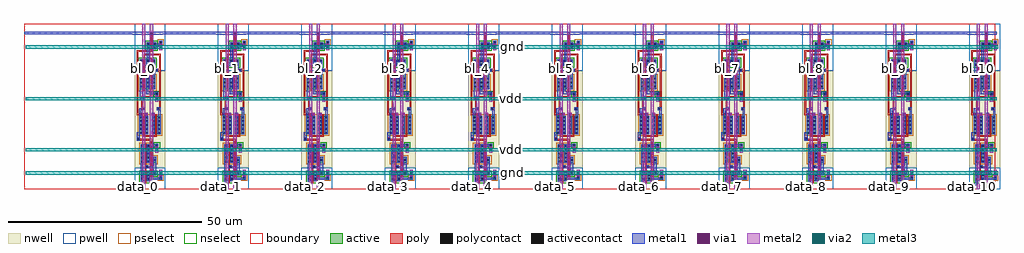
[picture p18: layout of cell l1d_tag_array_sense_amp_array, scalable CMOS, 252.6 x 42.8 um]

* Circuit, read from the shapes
.subckt l1d_tag_array_sense_amp_array bl_0 bl_1 bl_10 bl_2 bl_3 bl_4 bl_5 bl_6 bl_7 bl_8 bl_9 br_0 br_1 br_10 br_2 br_3 br_4 br_5 br_6 br_7 br_8 br_9 data_0 data_1 data_10 data_2 data_3 data_4 data_5 data_6 data_7 data_8 data_9 en gnd vdd
M1 n1 n2 n3 gnd nfet w=1.8u l=0.4u
M2 gnd n4 data_0 gnd nfet w=2.4u l=0.4u
M3 n2 n3 n1 gnd nfet w=1.8u l=0.4u
M4 n4 n3 gnd gnd nfet w=0.8u l=0.4u
M5 gnd en n1 gnd nfet w=1.8u l=0.4u
M6 n5 n6 n7 gnd nfet w=1.8u l=0.4u
M7 gnd n8 data_1 gnd nfet w=2.4u l=0.4u
M8 n6 n7 n5 gnd nfet w=1.8u l=0.4u
M9 n8 n7 gnd gnd nfet w=0.8u l=0.4u
M10 gnd en n5 gnd nfet w=1.8u l=0.4u
M11 n9 n10 n11 gnd nfet w=1.8u l=0.4u
M12 gnd n12 data_2 gnd nfet w=2.4u l=0.4u
M13 n10 n11 n9 gnd nfet w=1.8u l=0.4u
M14 n12 n11 gnd gnd nfet w=0.8u l=0.4u
M15 gnd en n9 gnd nfet w=1.8u l=0.4u
M16 n13 n14 n15 gnd nfet w=1.8u l=0.4u
M17 gnd n16 data_3 gnd nfet w=2.4u l=0.4u
M18 n14 n15 n13 gnd nfet w=1.8u l=0.4u
M19 n16 n15 gnd gnd nfet w=0.8u l=0.4u
M20 gnd en n13 gnd nfet w=1.8u l=0.4u
M21 n17 n18 n19 gnd nfet w=1.8u l=0.4u
M22 gnd n20 data_4 gnd nfet w=2.4u l=0.4u
M23 n18 n19 n17 gnd nfet w=1.8u l=0.4u
M24 n20 n19 gnd gnd nfet w=0.8u l=0.4u
M25 gnd en n17 gnd nfet w=1.8u l=0.4u
M26 n21 n22 n23 gnd nfet w=1.8u l=0.4u
M27 gnd n24 data_5 gnd nfet w=2.4u l=0.4u
M28 n22 n23 n21 gnd nfet w=1.8u l=0.4u
M29 n24 n23 gnd gnd nfet w=0.8u l=0.4u
M30 gnd en n21 gnd nfet w=1.8u l=0.4u
M31 n25 n26 n27 gnd nfet w=1.8u l=0.4u
M32 gnd n28 data_6 gnd nfet w=2.4u l=0.4u
M33 n26 n27 n25 gnd nfet w=1.8u l=0.4u
M34 n28 n27 gnd gnd nfet w=0.8u l=0.4u
M35 gnd en n25 gnd nfet w=1.8u l=0.4u
M36 n29 n30 n31 gnd nfet w=1.8u l=0.4u
M37 gnd n32 data_7 gnd nfet w=2.4u l=0.4u
M38 n30 n31 n29 gnd nfet w=1.8u l=0.4u
M39 n32 n31 gnd gnd nfet w=0.8u l=0.4u
M40 gnd en n29 gnd nfet w=1.8u l=0.4u
M41 n33 n34 n35 gnd nfet w=1.8u l=0.4u
M42 gnd n36 data_8 gnd nfet w=2.4u l=0.4u
M43 n34 n35 n33 gnd nfet w=1.8u l=0.4u
M44 n36 n35 gnd gnd nfet w=0.8u l=0.4u
M45 gnd en n33 gnd nfet w=1.8u l=0.4u
M46 n37 n38 n39 gnd nfet w=1.8u l=0.4u
M47 gnd n40 data_9 gnd nfet w=2.4u l=0.4u
M48 n38 n39 n37 gnd nfet w=1.8u l=0.4u
M49 n40 n39 gnd gnd nfet w=0.8u l=0.4u
M50 gnd en n37 gnd nfet w=1.8u l=0.4u
M51 n41 n42 n43 gnd nfet w=1.8u l=0.4u
M52 gnd n44 data_10 gnd nfet w=2.4u l=0.4u
M53 n42 n43 n41 gnd nfet w=1.8u l=0.4u
M54 n44 n43 gnd gnd nfet w=0.8u l=0.4u
M55 gnd en n41 gnd nfet w=1.8u l=0.4u
M56 bl_0 en n3 vdd pfet w=4.8u l=0.4u
M57 vdd n2 n3 vdd pfet w=3.6u l=0.4u
M58 vdd n4 data_0 vdd pfet w=4.8u l=0.4u
M59 n2 n3 vdd vdd pfet w=3.6u l=0.4u
M60 n4 n3 vdd vdd pfet w=1.6u l=0.4u
M61 n2 en br_0 vdd pfet w=4.8u l=0.4u
M62 bl_1 en n7 vdd pfet w=4.8u l=0.4u
M63 vdd n6 n7 vdd pfet w=3.6u l=0.4u
M64 vdd n8 data_1 vdd pfet w=4.8u l=0.4u
M65 n6 n7 vdd vdd pfet w=3.6u l=0.4u
M66 n8 n7 vdd vdd pfet w=1.6u l=0.4u
M67 n6 en br_1 vdd pfet w=4.8u l=0.4u
M68 bl_2 en n11 vdd pfet w=4.8u l=0.4u
M69 vdd n10 n11 vdd pfet w=3.6u l=0.4u
M70 vdd n12 data_2 vdd pfet w=4.8u l=0.4u
M71 n10 n11 vdd vdd pfet w=3.6u l=0.4u
M72 n12 n11 vdd vdd pfet w=1.6u l=0.4u
M73 n10 en br_2 vdd pfet w=4.8u l=0.4u
M74 bl_3 en n15 vdd pfet w=4.8u l=0.4u
M75 vdd n14 n15 vdd pfet w=3.6u l=0.4u
M76 vdd n16 data_3 vdd pfet w=4.8u l=0.4u
M77 n14 n15 vdd vdd pfet w=3.6u l=0.4u
M78 n16 n15 vdd vdd pfet w=1.6u l=0.4u
M79 n14 en br_3 vdd pfet w=4.8u l=0.4u
M80 bl_4 en n19 vdd pfet w=4.8u l=0.4u
M81 vdd n18 n19 vdd pfet w=3.6u l=0.4u
M82 vdd n20 data_4 vdd pfet w=4.8u l=0.4u
M83 n18 n19 vdd vdd pfet w=3.6u l=0.4u
M84 n20 n19 vdd vdd pfet w=1.6u l=0.4u
M85 n18 en br_4 vdd pfet w=4.8u l=0.4u
M86 bl_5 en n23 vdd pfet w=4.8u l=0.4u
M87 vdd n22 n23 vdd pfet w=3.6u l=0.4u
M88 vdd n24 data_5 vdd pfet w=4.8u l=0.4u
M89 n22 n23 vdd vdd pfet w=3.6u l=0.4u
M90 n24 n23 vdd vdd pfet w=1.6u l=0.4u
M91 n22 en br_5 vdd pfet w=4.8u l=0.4u
M92 bl_6 en n27 vdd pfet w=4.8u l=0.4u
M93 vdd n26 n27 vdd pfet w=3.6u l=0.4u
M94 vdd n28 data_6 vdd pfet w=4.8u l=0.4u
M95 n26 n27 vdd vdd pfet w=3.6u l=0.4u
M96 n28 n27 vdd vdd pfet w=1.6u l=0.4u
M97 n26 en br_6 vdd pfet w=4.8u l=0.4u
M98 bl_7 en n31 vdd pfet w=4.8u l=0.4u
M99 vdd n30 n31 vdd pfet w=3.6u l=0.4u
M100 vdd n32 data_7 vdd pfet w=4.8u l=0.4u
M101 n30 n31 vdd vdd pfet w=3.6u l=0.4u
M102 n32 n31 vdd vdd pfet w=1.6u l=0.4u
M103 n30 en br_7 vdd pfet w=4.8u l=0.4u
M104 bl_8 en n35 vdd pfet w=4.8u l=0.4u
M105 vdd n34 n35 vdd pfet w=3.6u l=0.4u
M106 vdd n36 data_8 vdd pfet w=4.8u l=0.4u
M107 n34 n35 vdd vdd pfet w=3.6u l=0.4u
M108 n36 n35 vdd vdd pfet w=1.6u l=0.4u
M109 n34 en br_8 vdd pfet w=4.8u l=0.4u
M110 bl_9 en n39 vdd pfet w=4.8u l=0.4u
M111 vdd n38 n39 vdd pfet w=3.6u l=0.4u
M112 vdd n40 data_9 vdd pfet w=4.8u l=0.4u
M113 n38 n39 vdd vdd pfet w=3.6u l=0.4u
M114 n40 n39 vdd vdd pfet w=1.6u l=0.4u
M115 n38 en br_9 vdd pfet w=4.8u l=0.4u
M116 bl_10 en n43 vdd pfet w=4.8u l=0.4u
M117 vdd n42 n43 vdd pfet w=3.6u l=0.4u
M118 vdd n44 data_10 vdd pfet w=4.8u l=0.4u
M119 n42 n43 vdd vdd pfet w=3.6u l=0.4u
M120 n44 n43 vdd vdd pfet w=1.6u l=0.4u
M121 n42 en br_10 vdd pfet w=4.8u l=0.4u
.ends

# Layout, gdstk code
import gdstk
lib = gdstk.Library(unit=1e-6, precision=1e-09)
def R(c, l, rs):  # rectangles x0, y0, x1, y1
    for r in rs: c.add(gdstk.rectangle(r[:2], r[2:], *l))
def A(c, l, x, y, w, h, nx, ny, dx, dy):  # array of equal rectangles
    R(c, l, [(x+i*dx, y+j*dy, x+i*dx+w, y+j*dy+h) for i in range(nx) for j in range(ny)])
pwell = (41, 0)
nwell = (42, 0)
active = (43, 0)
pselect = (44, 0)
nselect = (45, 0)
poly = (46, 0)
polycontact = (47, 0)
activecontact = (48, 0)
metal1 = (49, 0)
via1 = (50, 0)
metal2 = (51, 0)
via2 = (61, 0)
metal3 = (62, 0)
boundary = (63, 0)

sense_amp = lib.new_cell('sense_amp')
R(sense_amp, pwell, [(0,0,8,5.6), (0,30.6,8,42.8)])
R(sense_amp, nwell, [(0,5.6,8,30.6)])
R(sense_amp, active, [(1.6,2,4,3.6), (6.4,2.6,7.2,3.4), (1.6,3.6,5.6,4.4), (1.6,6.8,5.6,8.4), (1.6,8.4,4,11.6), (5.4,11,6.2,11.8), (1.2,14.2,3.6,19), (4.4,14.2,6.8,19), (5.4,24.2,6.2,25), (1.4,25.8,5.4,29.4), (1.4,31.8,5.4,33.6), (3.2,36.2,5.6,38), (6.4,37.6,7.2,38.4)])
R(sense_amp, pselect, [(6,2.2,7.6,3.8), (1.2,6.4,6,8.8), (1.2,8.8,4.4,12), (0.8,13.8,7.2,19.4), (1,25.4,5.8,29.8), (6,37.2,7.6,38.8)])
R(sense_amp, nselect, [(1.2,1.6,4.4,3.2), (1.2,3.2,6,4.8), (5,10.6,6.6,12.2), (5,23.8,6.6,25.4), (1,31.4,5.8,34), (2.8,35.8,6,38.4)])
R(sense_amp, poly, [(2.6,1.6,3,5.4), (4.2,3.2,4.6,12.6), (2.6,5.4,3.6,6.2), (2.6,6.2,3,12), (0.6,12.6,4.6,13), (0.6,13,1.4,13.4), (2.2,13.6,5.8,14), (2.2,14,2.6,19.2), (5.4,14,5.8,19.4), (0.6,19.2,2.6,19.6), (0.6,19.6,1,35.6), (1.8,20.4,2.6,21.2), (5.8,20.4,6.8,21.2), (1.8,21.2,2.2,23.2), (6.4,21.2,6.8,30.4), (1.8,23.2,2.6,23.6), (1.8,23.6,4.4,24), (4,24,4.4,34), (2.4,25.4,2.8,34.6), (5.2,30.4,6.8,31.2), (6.4,31.2,6.8,34.6), (2.4,34.6,6.8,35), (0.6,35.6,4.6,36), (4.2,36,4.6,40), (4,40,4.8,40.8)])
R(sense_amp, polycontact, [(3,5.6,3.4,6), (0.8,12.8,1.2,13.2), (2,20.6,2.4,21), (6,20.6,6.4,21), (2,23.4,2.4,23.8), (5.4,30.6,5.8,31), (4.2,40.2,4.6,40.6)])
A(sense_amp, activecontact, 1.8, 7, 0.4, 0.4, 1, 5, 0, 1)
A(sense_amp, activecontact, 3.4, 7, 0.4, 0.4, 1, 5, 0, 1)
A(sense_amp, activecontact, 1.4, 14.4, 0.4, 0.4, 4, 5, 1.6, 1)
A(sense_amp, activecontact, 1.6, 26.4, 0.4, 0.4, 3, 3, 1.6, 1)
A(sense_amp, activecontact, 1.6, 32, 0.4, 0.4, 3, 2, 1.6, 1)
R(sense_amp, activecontact, [(1.8,2.5,2.2,2.9), (3.4,2.5,3.8,2.9), (6.6,2.8,7,3.2), (1.8,3.5,2.2,3.9), (3.4,3.5,3.8,3.9), (5,3.8,5.4,4.2), (5,7.4,5.4,7.8), (5.6,11.2,6,11.6), (5.6,24.4,6,24.8), (3.4,36.4,3.8,36.8), (5,36.4,5.4,36.8), (3.4,37.4,3.8,37.8), (5,37.4,5.4,37.8), (6.6,37.8,7,38.2)])
R(sense_amp, metal1, [(0.6,0.8,1.4,1), (0.6,1,2.2,1.6), (1.6,1.6,2.2,2), (1.6,2,2.4,4.4), (3.2,2,4,2.4), (3.2,2.4,7.2,3), (3.2,3,4,4.4), (6.4,3,7.2,4.2), (4.8,3.6,5.6,5.4), (1.6,4.4,2.2,6.8), (2.8,5.4,5.6,6), (2.8,6,3.6,6.2), (4.8,6,5.6,8.4), (1.6,6.8,2.4,11.6), (3.2,6.8,4,11), (5.4,10.2,6.2,11), (3.2,11,6.2,11.6), (5.4,11.6,6.2,11.8), (0.6,12.6,1.4,14.2), (0.6,14.2,2,14.8), (2.8,14.2,3.6,19), (4.4,14.2,5.2,19.8), (6,14.2,6.8,19), (1.2,14.8,2,19), (1.2,19,1.8,20.4), (2.6,19,3.4,19.8), (6.2,19,6.8,20.4), (1.2,20.4,2.6,21), (5.8,20.4,6.8,21.2), (1.8,21,2.6,21.2), (1.4,23.2,2.6,24), (5.4,23.4,6.2,24.6), (1.4,24,2.2,33.6), (3,24.6,6.2,25.2), (3,25.2,3.6,25.8), (3,25.8,3.8,29.4), (4.6,25.8,5.4,30.4), (4.6,30.4,6,31.2), (4.6,31.2,5.4,33.6), (3,31.8,3.8,33.6), (3.2,33.6,3.8,36.2), (3.2,36.2,4,38), (4.8,36.2,5.6,36.8), (4.8,36.8,7.2,37.6), (4.8,37.6,5.6,38), (6.4,37.6,7.2,38.4), (-0.4,40,7.2,40.8), (-0.4,40,7.2,40.8)])
R(sense_amp, via1, [(0.8,1,1.2,1.4), (6.6,3.6,7,4), (5.6,10.4,6,10.8), (2.8,19.2,3.2,19.6), (4.6,19.2,5,19.6), (5.6,23.6,6,24), (6.6,37,7,37.4)])
R(sense_amp, metal2, [(0.6,0,1.4,1.6), (0.6,0,1.4,1.6), (2,0,2.8,19), (4,0,4.8,19), (6.4,3.4,7.2,5), (6.4,3.4,7.2,5), (5.4,9.4,6.2,11), (5.4,9.4,6.2,11), (2,19,3.4,19.8), (4,19,5.2,19.8), (2,19.8,2.8,42.8), (2,19.8,2.8,42.8), (4,19.8,4.8,42.8), (4,19.8,4.8,42.8), (5.4,22.6,6.2,24.2), (5.4,22.6,6.2,24.2), (6.4,36,7.2,37.6), (6.4,36,7.2,37.6)])
R(sense_amp, boundary, [(0,0,6.8,42.8)])
sense_amp.add(gdstk.Label('dout', (1,0.4), layer=51, texttype=0))
sense_amp.add(gdstk.Label('vdd', (5.8,9.8), layer=51, texttype=0))
sense_amp.add(gdstk.Label('br', (4.4,42.4), layer=51, texttype=0))
sense_amp.add(gdstk.Label('bl', (2.4,42.4), layer=51, texttype=0))
sense_amp.add(gdstk.Label('vdd', (5.8,23), layer=51, texttype=0))
sense_amp.add(gdstk.Label('gnd', (6.8,36.4), layer=51, texttype=0))
sense_amp.add(gdstk.Label('en', (0,40), layer=49, texttype=0))
sense_amp.add(gdstk.Label('gnd', (6.8,4.6), layer=51, texttype=0))
sense_amp.add(gdstk.Label('bl', (2.4,31.3), layer=51, texttype=0))
sense_amp.add(gdstk.Label('br', (4.4,31.3), layer=51, texttype=0))
sense_amp.add(gdstk.Label('dout', (1,0.8), layer=51, texttype=0))
sense_amp.add(gdstk.Label('en', (3.4,40.4), layer=49, texttype=0))
sense_amp.add(gdstk.Label('vdd', (5.8,10.2), layer=51, texttype=0))
sense_amp.add(gdstk.Label('vdd', (5.8,23.4), layer=51, texttype=0))
sense_amp.add(gdstk.Label('gnd', (6.8,36.8), layer=51, texttype=0))
sense_amp.add(gdstk.Label('gnd', (6.8,4.2), layer=51, texttype=0))

l1d_tag_array_contact_18 = lib.new_cell('l1d_tag_array_contact_18')
R(l1d_tag_array_contact_18, metal2, [(0,0,0.8,0.8)])
R(l1d_tag_array_contact_18, via2, [(0.2,0.2,0.6,0.6)])
R(l1d_tag_array_contact_18, metal3, [(0,0,0.8,0.8)])
R(l1d_tag_array_contact_18, boundary, [(0,0,0.8,0.8)])

l1d_tag_array_sense_amp_ = lib.new_cell('l1d_tag_array_sense_amp_array')
A(l1d_tag_array_sense_amp_, metal1, 31.7, 40.1, 0.6, 0.6, 11, 1, 21.6, 0)
R(l1d_tag_array_sense_amp_, metal1, [(0,40.1,251.4,40.7)])
A(l1d_tag_array_sense_amp_, metal2, 29.2, 0, 0.8, 1.6, 11, 1, 21.6, 0)
R(l1d_tag_array_sense_amp_, metal2, [(30.6,19.8,31.4,42.8), (32.6,19.8,33.4,42.8), (52.2,19.8,53,42.8), (54.2,19.8,55,42.8), (73.8,19.8,74.6,42.8), (75.8,19.8,76.6,42.8), (95.4,19.8,96.2,42.8), (97.4,19.8,98.2,42.8), (117,19.8,117.8,42.8), (119,19.8,119.8,42.8), (138.6,19.8,139.4,42.8), (140.6,19.8,141.4,42.8), (160.2,19.8,161,42.8), (162.2,19.8,163,42.8), (181.8,19.8,182.6,42.8), (183.8,19.8,184.6,42.8), (203.4,19.8,204.2,42.8), (205.4,19.8,206.2,42.8), (225,19.8,225.8,42.8), (227,19.8,227.8,42.8), (246.6,19.8,247.4,42.8), (248.6,19.8,249.4,42.8)])
R(l1d_tag_array_sense_amp_, metal3, [(0.4,3.8,252.2,4.6), (0.4,9.8,251.8,10.6), (0.4,23,251.8,23.8), (0.4,36.4,252.2,37.2)])
R(l1d_tag_array_sense_amp_, boundary, [(0,0,251.4,42.8)])
l1d_tag_array_sense_amp_.add(gdstk.Reference(sense_amp, (28.6,0)))
l1d_tag_array_sense_amp_.add(gdstk.Reference(sense_amp, (50.2,0)))
l1d_tag_array_sense_amp_.add(gdstk.Reference(sense_amp, (71.8,0)))
l1d_tag_array_sense_amp_.add(gdstk.Reference(sense_amp, (93.4,0)))
l1d_tag_array_sense_amp_.add(gdstk.Reference(sense_amp, (115,0)))
l1d_tag_array_sense_amp_.add(gdstk.Reference(sense_amp, (136.6,0)))
l1d_tag_array_sense_amp_.add(gdstk.Reference(sense_amp, (158.2,0)))
l1d_tag_array_sense_amp_.add(gdstk.Reference(sense_amp, (179.8,0)))
l1d_tag_array_sense_amp_.add(gdstk.Reference(sense_amp, (201.4,0)))
l1d_tag_array_sense_amp_.add(gdstk.Reference(sense_amp, (223,0)))
l1d_tag_array_sense_amp_.add(gdstk.Reference(sense_amp, (244.6,0)))
l1d_tag_array_sense_amp_.add(gdstk.Reference(l1d_tag_array_contact_18, (34,9.8)))
l1d_tag_array_sense_amp_.add(gdstk.Reference(l1d_tag_array_contact_18, (55.6,9.8)))
l1d_tag_array_sense_amp_.add(gdstk.Reference(l1d_tag_array_contact_18, (77.2,9.8)))
l1d_tag_array_sense_amp_.add(gdstk.Reference(l1d_tag_array_contact_18, (98.8,9.8)))
l1d_tag_array_sense_amp_.add(gdstk.Reference(l1d_tag_array_contact_18, (120.4,9.8)))
l1d_tag_array_sense_amp_.add(gdstk.Reference(l1d_tag_array_contact_18, (142,9.8)))
l1d_tag_array_sense_amp_.add(gdstk.Reference(l1d_tag_array_contact_18, (163.6,9.8)))
l1d_tag_array_sense_amp_.add(gdstk.Reference(l1d_tag_array_contact_18, (185.2,9.8)))
l1d_tag_array_sense_amp_.add(gdstk.Reference(l1d_tag_array_contact_18, (206.8,9.8)))
l1d_tag_array_sense_amp_.add(gdstk.Reference(l1d_tag_array_contact_18, (228.4,9.8)))
l1d_tag_array_sense_amp_.add(gdstk.Reference(l1d_tag_array_contact_18, (250,9.8)))
l1d_tag_array_sense_amp_.add(gdstk.Reference(l1d_tag_array_contact_18, (34,23)))
l1d_tag_array_sense_amp_.add(gdstk.Reference(l1d_tag_array_contact_18, (55.6,23)))
l1d_tag_array_sense_amp_.add(gdstk.Reference(l1d_tag_array_contact_18, (77.2,23)))
l1d_tag_array_sense_amp_.add(gdstk.Reference(l1d_tag_array_contact_18, (98.8,23)))
l1d_tag_array_sense_amp_.add(gdstk.Reference(l1d_tag_array_contact_18, (120.4,23)))
l1d_tag_array_sense_amp_.add(gdstk.Reference(l1d_tag_array_contact_18, (142,23)))
l1d_tag_array_sense_amp_.add(gdstk.Reference(l1d_tag_array_contact_18, (163.6,23)))
l1d_tag_array_sense_amp_.add(gdstk.Reference(l1d_tag_array_contact_18, (185.2,23)))
l1d_tag_array_sense_amp_.add(gdstk.Reference(l1d_tag_array_contact_18, (206.8,23)))
l1d_tag_array_sense_amp_.add(gdstk.Reference(l1d_tag_array_contact_18, (228.4,23)))
l1d_tag_array_sense_amp_.add(gdstk.Reference(l1d_tag_array_contact_18, (250,23)))
l1d_tag_array_sense_amp_.add(gdstk.Reference(l1d_tag_array_contact_18, (35,36.4)))
l1d_tag_array_sense_amp_.add(gdstk.Reference(l1d_tag_array_contact_18, (56.6,36.4)))
l1d_tag_array_sense_amp_.add(gdstk.Reference(l1d_tag_array_contact_18, (78.2,36.4)))
l1d_tag_array_sense_amp_.add(gdstk.Reference(l1d_tag_array_contact_18, (99.8,36.4)))
l1d_tag_array_sense_amp_.add(gdstk.Reference(l1d_tag_array_contact_18, (121.4,36.4)))
l1d_tag_array_sense_amp_.add(gdstk.Reference(l1d_tag_array_contact_18, (143,36.4)))
l1d_tag_array_sense_amp_.add(gdstk.Reference(l1d_tag_array_contact_18, (164.6,36.4)))
l1d_tag_array_sense_amp_.add(gdstk.Reference(l1d_tag_array_contact_18, (186.2,36.4)))
l1d_tag_array_sense_amp_.add(gdstk.Reference(l1d_tag_array_contact_18, (207.8,36.4)))
l1d_tag_array_sense_amp_.add(gdstk.Reference(l1d_tag_array_contact_18, (229.4,36.4)))
l1d_tag_array_sense_amp_.add(gdstk.Reference(l1d_tag_array_contact_18, (251,36.4)))
l1d_tag_array_sense_amp_.add(gdstk.Reference(l1d_tag_array_contact_18, (35,3.8)))
l1d_tag_array_sense_amp_.add(gdstk.Reference(l1d_tag_array_contact_18, (56.6,3.8)))
l1d_tag_array_sense_amp_.add(gdstk.Reference(l1d_tag_array_contact_18, (78.2,3.8)))
l1d_tag_array_sense_amp_.add(gdstk.Reference(l1d_tag_array_contact_18, (99.8,3.8)))
l1d_tag_array_sense_amp_.add(gdstk.Reference(l1d_tag_array_contact_18, (121.4,3.8)))
l1d_tag_array_sense_amp_.add(gdstk.Reference(l1d_tag_array_contact_18, (143,3.8)))
l1d_tag_array_sense_amp_.add(gdstk.Reference(l1d_tag_array_contact_18, (164.6,3.8)))
l1d_tag_array_sense_amp_.add(gdstk.Reference(l1d_tag_array_contact_18, (186.2,3.8)))
l1d_tag_array_sense_amp_.add(gdstk.Reference(l1d_tag_array_contact_18, (207.8,3.8)))
l1d_tag_array_sense_amp_.add(gdstk.Reference(l1d_tag_array_contact_18, (229.4,3.8)))
l1d_tag_array_sense_amp_.add(gdstk.Reference(l1d_tag_array_contact_18, (251,3.8)))
l1d_tag_array_sense_amp_.add(gdstk.Label('bl_0', (31,31.3), layer=51, texttype=0))
l1d_tag_array_sense_amp_.add(gdstk.Label('br_0', (33,31.3), layer=51, texttype=0))
l1d_tag_array_sense_amp_.add(gdstk.Label('data_0', (29.6,0.8), layer=51, texttype=0))
l1d_tag_array_sense_amp_.add(gdstk.Label('bl_1', (52.6,31.3), layer=51, texttype=0))
l1d_tag_array_sense_amp_.add(gdstk.Label('br_1', (54.6,31.3), layer=51, texttype=0))
l1d_tag_array_sense_amp_.add(gdstk.Label('data_1', (51.2,0.8), layer=51, texttype=0))
l1d_tag_array_sense_amp_.add(gdstk.Label('bl_2', (74.2,31.3), layer=51, texttype=0))
l1d_tag_array_sense_amp_.add(gdstk.Label('br_2', (76.2,31.3), layer=51, texttype=0))
l1d_tag_array_sense_amp_.add(gdstk.Label('data_2', (72.8,0.8), layer=51, texttype=0))
l1d_tag_array_sense_amp_.add(gdstk.Label('bl_3', (95.8,31.3), layer=51, texttype=0))
l1d_tag_array_sense_amp_.add(gdstk.Label('br_3', (97.8,31.3), layer=51, texttype=0))
l1d_tag_array_sense_amp_.add(gdstk.Label('data_3', (94.4,0.8), layer=51, texttype=0))
l1d_tag_array_sense_amp_.add(gdstk.Label('bl_4', (117.4,31.3), layer=51, texttype=0))
l1d_tag_array_sense_amp_.add(gdstk.Label('br_4', (119.4,31.3), layer=51, texttype=0))
l1d_tag_array_sense_amp_.add(gdstk.Label('data_4', (116,0.8), layer=51, texttype=0))
l1d_tag_array_sense_amp_.add(gdstk.Label('bl_5', (139,31.3), layer=51, texttype=0))
l1d_tag_array_sense_amp_.add(gdstk.Label('br_5', (141,31.3), layer=51, texttype=0))
l1d_tag_array_sense_amp_.add(gdstk.Label('data_5', (137.6,0.8), layer=51, texttype=0))
l1d_tag_array_sense_amp_.add(gdstk.Label('bl_6', (160.6,31.3), layer=51, texttype=0))
l1d_tag_array_sense_amp_.add(gdstk.Label('br_6', (162.6,31.3), layer=51, texttype=0))
l1d_tag_array_sense_amp_.add(gdstk.Label('data_6', (159.2,0.8), layer=51, texttype=0))
l1d_tag_array_sense_amp_.add(gdstk.Label('bl_7', (182.2,31.3), layer=51, texttype=0))
l1d_tag_array_sense_amp_.add(gdstk.Label('br_7', (184.2,31.3), layer=51, texttype=0))
l1d_tag_array_sense_amp_.add(gdstk.Label('data_7', (180.8,0.8), layer=51, texttype=0))
l1d_tag_array_sense_amp_.add(gdstk.Label('bl_8', (203.8,31.3), layer=51, texttype=0))
l1d_tag_array_sense_amp_.add(gdstk.Label('br_8', (205.8,31.3), layer=51, texttype=0))
l1d_tag_array_sense_amp_.add(gdstk.Label('data_8', (202.4,0.8), layer=51, texttype=0))
l1d_tag_array_sense_amp_.add(gdstk.Label('bl_9', (225.4,31.3), layer=51, texttype=0))
l1d_tag_array_sense_amp_.add(gdstk.Label('br_9', (227.4,31.3), layer=51, texttype=0))
l1d_tag_array_sense_amp_.add(gdstk.Label('data_9', (224,0.8), layer=51, texttype=0))
l1d_tag_array_sense_amp_.add(gdstk.Label('bl_10', (247,31.3), layer=51, texttype=0))
l1d_tag_array_sense_amp_.add(gdstk.Label('br_10', (249,31.3), layer=51, texttype=0))
l1d_tag_array_sense_amp_.add(gdstk.Label('data_10', (245.6,0.8), layer=51, texttype=0))
l1d_tag_array_sense_amp_.add(gdstk.Label('vdd', (126.1,10.2), layer=62, texttype=0))
l1d_tag_array_sense_amp_.add(gdstk.Label('vdd', (126.1,23.4), layer=62, texttype=0))
l1d_tag_array_sense_amp_.add(gdstk.Label('gnd', (126.3,4.2), layer=62, texttype=0))
l1d_tag_array_sense_amp_.add(gdstk.Label('gnd', (126.3,36.8), layer=62, texttype=0))
l1d_tag_array_sense_amp_.add(gdstk.Label('en', (125.7,40.4), layer=49, texttype=0))

lib.write_gds('l1d_tag_array_sense_amp_array.gds')
